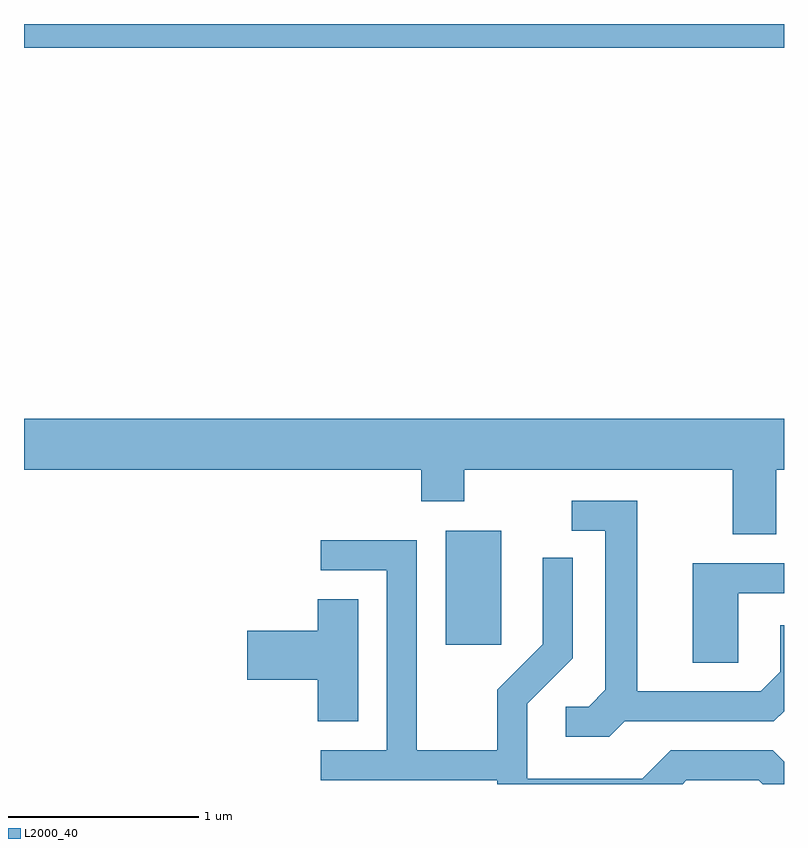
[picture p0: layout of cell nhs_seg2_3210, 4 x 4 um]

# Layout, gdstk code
import gdstk
lib = gdstk.Library(unit=1e-6, precision=1e-09)
def R(c, l, rs):  # rectangles x0, y0, x1, y1
    for r in rs: c.add(gdstk.rectangle(r[:2], r[2:], *l))
def P(c, l, *ps):  # polygons
    for p in ps: c.add(gdstk.Polygon(p, *l))
L2000_40 = (2000, 40)

nhs_seg2_3210 = lib.new_cell('nhs_seg2_3210')
R(nhs_seg2_3210, L2000_40, [(281.831,1018.536,282.124,1019.134), (279.611,1021.676,283.611,1021.802)])
P(nhs_seg2_3210, L2000_40, [(283.569,1019.456),(283.611,1019.456),(283.611,1019.724),(279.611,1019.724),(279.611,1019.456),(281.701,1019.456),(281.701,1019.291),(281.929,1019.291),(281.929,1019.456),(283.341,1019.456),(283.341,1019.116),(283.569,1019.116)],
  [(282.772,1018.131),(283.557,1018.131),(283.611,1018.185),(283.611,1018.638),(283.591,1018.638),(283.591,1018.392),(283.489,1018.289),(282.839,1018.289),(282.839,1019.294),(282.493,1019.294),(282.493,1019.136),(282.671,1019.136),(282.671,1018.297),(282.584,1018.209),(282.463,1018.209),(282.463,1018.051),(282.692,1018.051)],
  [(283.097,1017.821),(283.479,1017.821),(283.498,1017.802),(283.611,1017.802),(283.611,1017.92),(283.552,1017.979),(283.014,1017.979),(282.864,1017.829),(282.259,1017.829),(282.259,1018.224),(282.499,1018.464),(282.499,1018.993),(282.341,1018.993),(282.341,1018.537),(282.101,1018.297),(282.101,1017.979),(281.679,1017.979),(281.679,1019.084),(281.173,1019.084),(281.173,1018.926),(281.521,1018.926),(281.521,1017.979),(281.173,1017.979),(281.173,1017.821),(282.101,1017.821),(282.101,1017.802),(283.078,1017.802)],
  [(283.369,1018.806),(283.611,1018.806),(283.611,1018.964),(283.131,1018.964),(283.131,1018.441),(283.369,1018.441)],
  [(281.369,1018.774),(281.156,1018.774),(281.156,1018.609),(280.786,1018.609),(280.786,1018.351),(281.156,1018.351),(281.156,1018.131),(281.369,1018.131)])

lib.write_gds('nhs_seg2_3210.gds')
